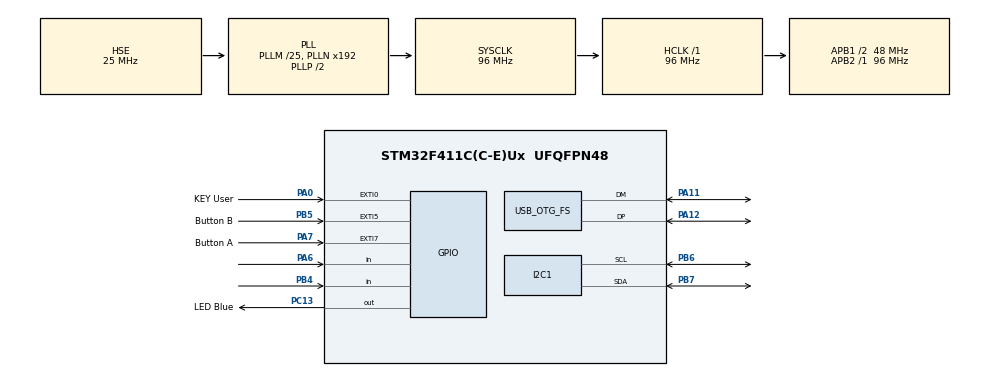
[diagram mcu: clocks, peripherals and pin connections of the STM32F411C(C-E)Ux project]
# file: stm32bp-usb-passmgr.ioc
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ADC1.Channel-6\#ChannelRegularConversion=ADC_CHANNEL_TEMPSENSOR
ADC1.NbrOfConversionFlag=1
ADC1.Rank-6\#ChannelRegularConversion=1
ADC1.SamplingTime-6\#ChannelRegularConversion=ADC_SAMPLETIME_3CYCLES
ADC1.master=1
Dma.I2C1_TX.0.Direction=DMA_MEMORY_TO_PERIPH
Dma.I2C1_TX.0.FIFOMode=DMA_FIFOMODE_DISABLE
Dma.I2C1_TX.0.Instance=DMA1_Stream6
Dma.I2C1_TX.0.MemDataAlignment=DMA_MDATAALIGN_BYTE
Dma.I2C1_TX.0.MemInc=DMA_MINC_ENABLE
Dma.I2C1_TX.0.Mode=DMA_NORMAL
Dma.I2C1_TX.0.PeriphDataAlignment=DMA_PDATAALIGN_BYTE
Dma.I2C1_TX.0.PeriphInc=DMA_PINC_DISABLE
Dma.I2C1_TX.0.Priority=DMA_PRIORITY_LOW
Dma.Request0=I2C1_TX
I2C1.I2C_Mode=I2C_Fast
Mcu.Family=STM32F4
Mcu.Name=STM32F411C(C-E)Ux
Mcu.Package=UFQFPN48
NVIC.DMA1_Stream6_IRQn=true\:0\:0\:false\:false\:true\:false\:true\:true
NVIC.EXTI0_IRQn=true\:0\:0\:false\:false\:true\:true\:true\:true
NVIC.EXTI9_5_IRQn=true\:0\:0\:false\:false\:true\:true\:true\:true
NVIC.I2C1_EV_IRQn=true\:0\:0\:false\:false\:true\:true\:true\:true
NVIC.OTG_FS_IRQn=true\:1\:0\:true\:false\:true\:false\:true\:true
NVIC.PriorityGroup=NVIC_PRIORITYGROUP_4
NVIC.TIM1_UP_TIM10_IRQn=true\:14\:0\:true\:false\:true\:true\:true\:true
PA0-WKUP.GPIO_Label=KEY User
PA0-WKUP.GPIO_ModeDefaultEXTI=GPIO_MODE_IT_RISING_FALLING
PA0-WKUP.GPIO_PuPd=GPIO_PULLUP
PA0-WKUP.Signal=GPXTI0
PA11.Mode=Device_Only
PA11.Signal=USB_OTG_FS_DM
PA12.Mode=Device_Only
PA12.Signal=USB_OTG_FS_DP
PA6.Signal=GPIO_Input
PA7.GPIO_Label=Button A
PA7.GPIO_ModeDefaultEXTI=GPIO_MODE_IT_RISING_FALLING
PA7.GPIO_PuPd=GPIO_PULLUP
PA7.Signal=GPXTI7
PB4.Signal=GPIO_Input
PB5.GPIO_Label=Button B
PB5.GPIO_ModeDefaultEXTI=GPIO_MODE_IT_RISING_FALLING
PB5.GPIO_PuPd=GPIO_PULLUP
PB5.Signal=GPXTI5
PB6.Mode=I2C
PB6.Signal=I2C1_SCL
PB7.Mode=I2C
PB7.Signal=I2C1_SDA
PC13-ANTI_TAMP.GPIO_Label=LED Blue
PC13-ANTI_TAMP.Signal=GPIO_Output
PC14-OSC32_IN.Mode=LSE-External-Oscillator
PC14-OSC32_IN.Signal=RCC_OSC32_IN
PC15-OSC32_OUT.Mode=LSE-External-Oscillator
PC15-OSC32_OUT.Signal=RCC_OSC32_OUT
PH0\ -\ OSC_IN.Mode=HSE-External-Oscillator
PH0\ -\ OSC_IN.Signal=RCC_OSC_IN
PH1\ -\ OSC_OUT.Mode=HSE-External-Oscillator
PH1\ -\ OSC_OUT.Signal=RCC_OSC_OUT
ProjectManager.HeapSize=0x200
ProjectManager.StackSize=0x400
ProjectManager.TargetToolchain=STM32CubeIDE
RCC.48MHZClocksFreq_Value=48000000
RCC.AHBFreq_Value=96000000
RCC.APB1CLKDivider=RCC_HCLK_DIV2
RCC.APB1Freq_Value=48000000
RCC.APB1TimFreq_Value=96000000
RCC.APB2Freq_Value=96000000
RCC.APB2TimFreq_Value=96000000
RCC.CortexFreq_Value=96000000
RCC.HCLKFreq_Value=96000000
RCC.HSE_VALUE=25000000
RCC.HSI_VALUE=16000000
RCC.PLLM=25
RCC.SYSCLKFreq_VALUE=96000000
RCC.SYSCLKSource=RCC_SYSCLKSOURCE_PLLCLK
RCC.VCOOutputFreq_Value=192000000
TIM10.Period=499
TIM10.Prescaler=1499
USB_DEVICE.CLASS_NAME_FS=CUSTOM_HID
USB_DEVICE.USBD_CUSTOM_HID_REPORT_DESC_SIZE=61
USB_DEVICE.VirtualMode=CustomHid
USB_DEVICE.VirtualModeFS=Custom_Hid_FS
USB_OTG_FS.VirtualMode=Device_Only
VP_ADC1_TempSens_Input.Mode=IN-TempSens
VP_CRC_VS_CRC.Mode=CRC_Activate
VP_TIM10_VS_ClockSourceINT.Mode=Enable_Timer
VP_USB_DEVICE_VS_USB_DEVICE_CUSTOM_HID_FS.Mode=CUSTOM_HID_FS
board=custom

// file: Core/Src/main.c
/* USER CODE BEGIN Header */
/**
  ******************************************************************************
  * @file           : main.c
  * @brief          : Main program body
  ******************************************************************************
  * @attention
  *
  * Copyright (c) 2023 STMicroelectronics.
  * All rights reserved.
  *
  * This software is licensed under terms that can be found in the LICENSE file
  * in the root directory of this software component.
  * If no LICENSE file comes with this software, it is provided AS-IS.
  *
  ******************************************************************************
  */
/* USER CODE END Header */
#include "main.h"
#include "adc.h"
#include "crc.h"
#include "dma.h"
#include "i2c.h"
#include "tim.h"
#include "usb_device.h"
#include "gpio.h"

/* USER CODE BEGIN Includes */

#include <stdbool.h>
#include "usbd_customhid.h"
#include "usb_hid_keys.h"
#include "OLED_SSD1306.h"
#include "GFX_BW.h"
#include "fonts/fonts.h"
#include "keystructures.h"
#include "database.h"

/* USER CODE END Includes */

/* USER CODE BEGIN PD */
#define VERSION_STRING "1.05"

#define BTN_PRESSED GPIO_PIN_RESET		// Buttons are active-low
#define BTN_RELEASED GPIO_PIN_SET

#define BTN0_GPIO GPIOA
#define BTN0_PIN GPIO_PIN_0

#define BTN1_GPIO GPIOB
#define BTN1_PIN GPIO_PIN_5

#define BTN2_GPIO GPIOA
#define BTN2_PIN GPIO_PIN_7

#define LED_ON GPIO_PIN_RESET			// LED is active-low
#define LED_OFF GPIO_PIN_SET

#define LED_GPIO GPIOC
#define LED_PIN GPIO_PIN_13

#define BUTTONS 3						// Number of onboard buttons

#define BUTTON_DEBOUNCE_COUNTER 3		// Debounce conter cycles
#define BUTTON_HOLD_COUNTER 50			// Hold detect conter cycles

#define KEYPRESS_EVERY_N_CYCLES 8		// Keypress every n cycles
#define KEYPRESS_RELEASE_AFTER_CYCLES 2	// Keypress every n cycles

#define NUMBER_OF_LCD_LINES 4

#define TYPE_SEQUENCE_OFF -1			// Disable typing sequence
#define TYPE_SEQUENCE_BEGIN 0			// Begin typing sequence

#define DISPLAY_CONTEXT_MAIN 0x00		// Display context password slots
#define DISPLAY_CONTEXT_SLOTEDIT 0x01	// Display context edit password slot
#define DISPLAY_CONTEXT_TEXTEDIT 0x02	// Display context edit text line
#define DISPLAY_CONTEXT_DELCONFIRM 0x03	// Display context confirm delete
#define DISPLAY_CONTEXT_MESSAGE 0x04	// Display context display message
#define DISPLAY_CONTEXT_PINSET 0x05		// Display context display message
#define DISPLAY_CONTEXT_PINENTER 0x06	// Display context display message
#define DISPLAY_CONTEXT_HLTMSG 0x07 	// Display content halt message

#define EDIT_LOT_ROLE_NAME 0x01
#define EDIT_LOT_ROLE_USERNAME 0x02
#define EDIT_LOT_ROLE_PASSWORD 0x03

#define EDIT_OPTION_NEWPASS 0x00		// Opcja edycji - Nowe hasło
#define EDIT_OPTION_SAVE 0x01			// Opcja edycji - Zapisz
#define EDIT_OPTION_DELETE 0x02			// Opcja edycji - Zapisz
#define EDIT_OPTION_NAME 0x03			// Opcja edycji - Nazwa
#define EDIT_OPTION_USERNAME 0x04		// Opcja edycji - Użytkownik
#define EDIT_OPTION_PASSWORD 0x05		// Opcja edycji - Hasło

#define MAX_LINE_OF_TEXT_CHARS 20

#define MSG_DISPLAY_CYCLES 150
#define VERSION_DISPLAY_CYCLES 70
#define DBMSG_DISPLAY_CYCLES 20
#define SAVE_ALL_SLOTS_ON_CYCLE 10

#define LCD_DIM_COUNTER_START 6000
#define DISPLAY_ENABLED_COUNTER_START 30000

#define LCD_DIM_BRIGHT_VALUE 0x50
#define LCD_DIM_DARK_VALUE 0x00

#define LCD_BRIGHTNESS_IS_DIM 0x01
#define LCD_BRIGHTNESS_GO_DIM 0x02
#define LCD_BRIGHTNESS_GO_BRIGHT 0x04

#define PIN_ENTER_CHAR_UNKNOWN '#'
#define PIN_ENTER_CHAR_UPARROW '^'
#define PIN_ENTER_CHAR_ONE '1'
#define PIN_ENTER_CHAR_ZERO '0'

#define MAX_FAILED_LOGIN 3

#define OPT_FAILED_LOGINS 0

#define DELAYED_LOGIN_COUNTER 10

void welcomeMsg(void);
void longPress(int);
void shortPress(int);
void loadAndDisplaySlots(void);
void loadSlotsFromFlash(void);
void displayLoadedSlots(void);
void cleanAndSaveDB(void);
bool saveAllSlots(void);
char alphabetGetNextChar(char);
char alphabetGetPreviousChar(char);
void sanitizeLineOfText(char*, int);
void randomizePassword(char*, int);
void loadEncryptedDatabase(void);
void scrambleEmptyData(char*, int);

/* USER CODE END PD */

/* USER CODE BEGIN PV */

extern USBD_HandleTypeDef hUsbDeviceFS;

struct ButtonState {
	bool isPressed;
	bool isHolded;
	bool awaitingPressAction;
	bool awaitingReleaseAction;
	bool awaitingLongAction;
	int stateCounter;
	int holdCounter;
	GPIO_TypeDef *GPIO;
	uint8_t PIN;
};

struct ButtonState buttonState[3] = {0};

char alphabet[] = {'a', 'b', 'c', 'd', 'e', 'f', 'g', 'h', 'i', 'j', 'k', 'l', 'm', 'n', 'o', 'p', 'q', 'r', 's', 't', 'u', 'v', 'w', 'x', 'y', 'z',
				   'A', 'B', 'C', 'D', 'E', 'F', 'G', 'H', 'I', 'J', 'K', 'L', 'M', 'N', 'O', 'P', 'Q', 'R', 'S', 'T', 'U', 'V', 'W', 'X', 'Y', 'Z',
				   '0', '1', '2', '3', '4', '5', '6', '7', '8', '9', '!', '@', '#', '$', '%', '^', '&', '*', '(', ')', '-', '=', '_', '+',
				   '.', 0x00};

int letterDisplay = sizeof(alphabet)-1;

const int releaseKey = 0;
const int userBegin = 1;
const int passwordBegin = 12;

int letterToType = 0;
int keyPressed = 0;

const int longPressCycles = 35;

uint8_t capslockState = 0;

uint8_t usbConnected = 0;

char slotDisplayLines[4][26] = {{0}, {0}, {0}, {0}};
char slotEditLines[4][26] = {{0}, {0}, {0}, {0}};
bool slotsWithLabel[4] = { false, false, false, false };
static char *slotEditNewPassBtn = "[Nowe]";
static char *slotEditSaveBtn = "[Zapisz]";
static char *slotEditDeleteBtn = "[Usun]";
static char *slotEditOKBtn = "[OK]";
static char *slotEditNameLabel = "N:";
static char *slotEditUsernameLabel = "U:";
static char *slotEditPasswordLabel = "H:";
int editOption = 0;

static char *slotEditLOTLabelName = "Nazwa:";
static char *slotEditLOTLabelUsername = "Uzytkownik:";
static char *slotEditLOTLabelPassword = "Haslo:";

static char *pinEditLabel = "Ustaw PIN:";
static char *pinEnterLabel = "Podaj PIN:";

char lcdMessage[16] = {0};

char str[20] = {0};

PasswordSlot passwordSlots[NUMBER_OF_SLOTS] = {0};
PasswordSlot currentEditPasswordSlot;
volatile bool editPasswordWasChanged = false;
bool slotValid[NUMBER_OF_SLOTS + 1] = { false };
char validSignature[4] = { 'E', 'O', 'D', 'B' };
uint8_t dbSignature[4] = {0};

static char *slotInvalidName = "[ DODAJ SLOT ]";
static char *slotSetPinName = "[ USTAW PIN ]";
static char *slotLabels[NUMBER_OF_SLOTS + 1] = {"1.", "2.", "3.", "4.", "5.", "6.", "7.", "8.", "9.",
											    "A.", "B.", "C.", "D.", "E.", "F.", "G.", "H.", "I.",
											    "J.", "K.", "L.", "M.", "N.", "O.", "P.", "Q.", "R.",
											    "S.", "T.", "U.", "W.", "X.", "Y.", "Z.", ".."};

static char *slotConfirmDeleteLabel = "[YARLY!]";

const char* lcdMessageTyping = "PISZE...";
const char* lcdMessageSaving = "Zapisuje...";
const char* lcdMessageDeleting = "Usuwam...";
const char* lcdMessageSaveError = "BLAD!";
const char* lcdMessageSaveOK = "OK!";

const char* lcdDelConfirmMessage = "ORLY???";

const char* lcdMessageLocked = "Blokada";
const char* lcdMessageFailedPin = "Zly PIN!";

const char* lcdMessageVersion = VERSION_STRING;

typedef struct EditedLineOfText {
	char line[25];
	char name[25];
	int lineRole;
	int editedChar;
} EditedLineOfText;

static char emptyChar = '~';
static char upArrowChar = '^';

int okButtonIdx = 0;

EditedLineOfText editedLineOfText = { {0}, {0}, 0, 0 };

volatile int selectedSlot = 0;

typedef struct TypeSequence {
	int lUsername;
	int lPassword;
	int lPreviousPassword;
	bool withTerminations;
} TypeSequence;

TypeSequence typeSequence = {-1, -1};

volatile uint8_t displayContext = DISPLAY_CONTEXT_MAIN;

volatile int messageDisplayCounter = 0;

uint8_t randomSeed[MAX_LINE_OF_TEXT_CHARS * 4] = {0};
volatile uint8_t currentSeedPart = 0;

volatile int lcdDimCounter = 0;

volatile uint8_t lcdBrightnessStatus = 0x00;

volatile int displayEnabledCounter = 0;

uint8_t displaySlotsFirst = {0};
uint8_t displaySlotsLast = {0};

uint8_t xorPinKey = 0x00;

volatile uint8_t pinEntered = 0x00;
volatile uint8_t pinEnterPos = 0;

uint8_t optBuffer[4];

volatile int delayedLogin = 0x00;

volatile bool btnCancelNextAction = false;

uint8_t databaseMode = PM_DATABASE_MODE_MAIN;
volatile uint8_t saveDatabasePending = false;

/* USER CODE END PV */

void SystemClock_Config(void);

/* USER CODE BEGIN 0 */

void welcomeMsg(void) {
	displayContext = DISPLAY_CONTEXT_MESSAGE;
	if (databaseMode == PM_DATABASE_MODE_BACKUP) {
		sprintf(lcdMessage, "baza zapas.");
	} else {
		sprintf(lcdMessage, "wersja %s", lcdMessageVersion);
	}
	messageDisplayCounter = VERSION_DISPLAY_CYCLES;
}

// Procedures executed on buttons long press
void longPress(int button) {

	if (btnCancelNextAction) {
		btnCancelNextAction = false;
		return;
	}

	switch (displayContext)
	{
		case DISPLAY_CONTEXT_MAIN:
			switch (button) {
				case 0:	// BUTTON 0 LONG PRESS
					if ((typeSequence.lUsername == TYPE_SEQUENCE_OFF) && (typeSequence.lPassword == TYPE_SEQUENCE_OFF) && (typeSequence.lPreviousPassword == TYPE_SEQUENCE_OFF) && slotValid[selectedSlot]) {
						typeSequence.lUsername = TYPE_SEQUENCE_OFF;
						typeSequence.lPassword = TYPE_SEQUENCE_BEGIN;
						typeSequence.lPreviousPassword = TYPE_SEQUENCE_OFF;
						typeSequence.withTerminations = false;
						keyPressed = 0;
						//Display typing message
						strcpy(lcdMessage, lcdMessageTyping);
						displayContext = DISPLAY_CONTEXT_MESSAGE;
					}
					break;
				case 1: // BUTTON 1 LONG PRESS
					if (selectedSlot > displaySlotsLast) {
						pinEntered = 0x00;
						pinEnterPos = 0x00;
						displayContext = DISPLAY_CONTEXT_PINSET;
					}
					else
					{
						if (slotValid[selectedSlot]) {
							strncpy(currentEditPasswordSlot.name, passwordSlots[selectedSlot].name, 25);
							strncpy(currentEditPasswordSlot.username, passwordSlots[selectedSlot].username, 25);
							strncpy(currentEditPasswordSlot.password, passwordSlots[selectedSlot].password, 25);
							strncpy(currentEditPasswordSlot.previouspassword, passwordSlots[selectedSlot].previouspassword, 25);
							sanitizeLineOfText(currentEditPasswordSlot.name, sizeof(currentEditPasswordSlot.name));
							sanitizeLineOfText(currentEditPasswordSlot.username, sizeof(currentEditPasswordSlot.username));
							sanitizeLineOfText(currentEditPasswordSlot.password, sizeof(currentEditPasswordSlot.password));
							sanitizeLineOfText(currentEditPasswordSlot.previouspassword, sizeof(currentEditPasswordSlot.previouspassword));
						} else {
							strcpy(currentEditPasswordSlot.name, "");
							strcpy(currentEditPasswordSlot.username, "");
							strcpy(currentEditPasswordSlot.password, "");
							strcpy(currentEditPasswordSlot.previouspassword, "");
						}
						displayContext = DISPLAY_CONTEXT_SLOTEDIT;
						editOption = EDIT_OPTION_NEWPASS;
						editPasswordWasChanged = false;
					}
					break;
				case 2: // BUTTON 2 LONG PRESS
					if ((typeSequence.lUsername == TYPE_SEQUENCE_OFF) && (typeSequence.lPassword == TYPE_SEQUENCE_OFF) && (typeSequence.lPreviousPassword == TYPE_SEQUENCE_OFF) && slotValid[selectedSlot]) {
						typeSequence.lUsername = TYPE_SEQUENCE_OFF;
						typeSequence.lPassword = TYPE_SEQUENCE_OFF;
						typeSequence.lPreviousPassword = TYPE_SEQUENCE_BEGIN;
						typeSequence.withTerminations = false;
						keyPressed = 0;
						//Display typing message
						strcpy(lcdMessage, lcdMessageTyping);
						displayContext = DISPLAY_CONTEXT_MESSAGE;
					}
					break;
			}
			break;

		case DISPLAY_CONTEXT_SLOTEDIT:
			switch (button) {
				case 0:	// BUTTON 0 LONG PRESS
					if ((editOption == EDIT_OPTION_SAVE) || (editOption == EDIT_OPTION_NEWPASS) || (editOption == EDIT_OPTION_DELETE)) {
						sanitizeLineOfText(currentEditPasswordSlot.name, sizeof(currentEditPasswordSlot.name));
						sanitizeLineOfText(currentEditPasswordSlot.username, sizeof(currentEditPasswordSlot.username));
						sanitizeLineOfText(currentEditPasswordSlot.password, sizeof(currentEditPasswordSlot.password));
						sanitizeLineOfText(currentEditPasswordSlot.previouspassword, sizeof(currentEditPasswordSlot.previouspassword));

						switch (editOption)
						{
							case EDIT_OPTION_SAVE:
								strncpy(passwordSlots[selectedSlot].name, currentEditPasswordSlot.name, sizeof(currentEditPasswordSlot.name));
								strncpy(passwordSlots[selectedSlot].username, currentEditPasswordSlot.username,  sizeof(currentEditPasswordSlot.username));
								if (editPasswordWasChanged)
								{
									strncpy(passwordSlots[selectedSlot].previouspassword, passwordSlots[selectedSlot].password,  sizeof(passwordSlots[selectedSlot].password));
									sanitizeLineOfText(passwordSlots[selectedSlot].previouspassword, sizeof(passwordSlots[selectedSlot].previouspassword));
								}
								strncpy(passwordSlots[selectedSlot].password, currentEditPasswordSlot.password,  sizeof(currentEditPasswordSlot.password));
								slotValid[selectedSlot] = true;
								saveDatabasePending = true;
								strcpy(lcdMessage, lcdMessageSaving);
								displayContext = DISPLAY_CONTEXT_MESSAGE;
								messageDisplayCounter = DBMSG_DISPLAY_CYCLES;
								editPasswordWasChanged = false;
								break;

							case EDIT_OPTION_NEWPASS:
								randomizePassword(currentEditPasswordSlot.password, MAX_LINE_OF_TEXT_CHARS);
								sanitizeLineOfText(currentEditPasswordSlot.password, sizeof(currentEditPasswordSlot.password));
								editPasswordWasChanged = true;
								break;

							case EDIT_OPTION_DELETE:
								if (slotValid[selectedSlot]) {
									strcpy(lcdMessage, lcdDelConfirmMessage);
									displayContext = DISPLAY_CONTEXT_DELCONFIRM;
								}
								break;
						}
					}
					break;
				case 1: // BUTTON 1 LONG PRESS
					if (editOption == EDIT_OPTION_NAME || editOption == EDIT_OPTION_USERNAME || editOption == EDIT_OPTION_PASSWORD) {
						switch (editOption)
						{
							case EDIT_OPTION_NAME:
								strcpy(editedLineOfText.name, slotEditLOTLabelName);
								editedLineOfText.lineRole = EDIT_LOT_ROLE_NAME;
								strcpy(editedLineOfText.line, currentEditPasswordSlot.name);
								break;
							case EDIT_OPTION_USERNAME:
								strcpy(editedLineOfText.name, slotEditLOTLabelUsername);
								editedLineOfText.lineRole = EDIT_LOT_ROLE_USERNAME;
								strcpy(editedLineOfText.line, currentEditPasswordSlot.username);
								break;
							case EDIT_OPTION_PASSWORD:
								strcpy(editedLineOfText.name, slotEditLOTLabelPassword);
								editedLineOfText.lineRole = EDIT_LOT_ROLE_PASSWORD;
								strcpy(editedLineOfText.line, currentEditPasswordSlot.password);
								break;

						}
						sanitizeLineOfText(editedLineOfText.line, sizeof(editedLineOfText.line));
						editedLineOfText.editedChar = 0;
						displayContext = DISPLAY_CONTEXT_TEXTEDIT;

					}
					break;
				case 2: // BUTTON 2 LONG PRESS
					displayContext = DISPLAY_CONTEXT_MAIN;
					editPasswordWasChanged = false;
					break;
			}
			break;

		case DISPLAY_CONTEXT_TEXTEDIT:
			switch (button) {
				case 0:	// BUTTON 0 LONG PRESS
					okButtonIdx = (strlen(editedLineOfText.line)+1 < MAX_LINE_OF_TEXT_CHARS)?strlen(editedLineOfText.line)+1:MAX_LINE_OF_TEXT_CHARS;

					if (editedLineOfText.editedChar < okButtonIdx)
					{
						if (--editedLineOfText.editedChar < 0) editedLineOfText.editedChar = okButtonIdx;
					} else {
						sanitizeLineOfText(editedLineOfText.line, sizeof(editedLineOfText.line));
						switch (editedLineOfText.lineRole)
						{
							case EDIT_LOT_ROLE_NAME:
								strcpy(currentEditPasswordSlot.name, editedLineOfText.line);
								break;
							case EDIT_LOT_ROLE_USERNAME:
								strcpy(currentEditPasswordSlot.username, editedLineOfText.line);
								break;
							case EDIT_LOT_ROLE_PASSWORD:
								strcpy(currentEditPasswordSlot.password, editedLineOfText.line);
								editPasswordWasChanged = true;
								break;
						}
						displayContext = DISPLAY_CONTEXT_SLOTEDIT;
						//editOption = EDIT_OPTION_SAVE;
					}
					break;
				case 1:	// BUTTON 1 LONG PRESS
					okButtonIdx = (strlen(editedLineOfText.line)+1 < MAX_LINE_OF_TEXT_CHARS)?strlen(editedLineOfText.line)+1:MAX_LINE_OF_TEXT_CHARS;

					editedLineOfText.editedChar = okButtonIdx;
					break;
				case 2:	// BUTTON 2 LONG PRESS
					displayContext = DISPLAY_CONTEXT_SLOTEDIT;
					break;
			}
			break;

		case DISPLAY_CONTEXT_DELCONFIRM:
			switch (button) {

				case 0:	// BUTTON 0 LONG PRESS
					memset(&(currentEditPasswordSlot.name), 0x00, sizeof(currentEditPasswordSlot.name));
					memset(&(currentEditPasswordSlot.username), 0x00, sizeof(currentEditPasswordSlot.username));
					memset(&(currentEditPasswordSlot.password), 0x00, sizeof(currentEditPasswordSlot.password));
					memset(&(currentEditPasswordSlot.previouspassword), 0x00, sizeof(currentEditPasswordSlot.previouspassword));
					memset(&(currentEditPasswordSlot.checksum), 0x00, sizeof(currentEditPasswordSlot.checksum));
					slotValid[selectedSlot] = false;
					selectedSlot = 0;
					displaySlotsFirst = 0;
					saveDatabasePending = true;
					strcpy(lcdMessage, lcdMessageDeleting);
					displayContext = DISPLAY_CONTEXT_MESSAGE;
					messageDisplayCounter = DBMSG_DISPLAY_CYCLES;
					editPasswordWasChanged = false;
					break;

				case 1:
				case 2:
					displayContext = DISPLAY_CONTEXT_SLOTEDIT;
					break;

			}
			break;

		case DISPLAY_CONTEXT_PINSET:

			switch (button) {
				case 0:
					if (pinEnterPos > 7) {
						xorPinKey = pinEntered;
						pinEntered = 0x00;
						pinEnterPos = 0x00;
						saveDatabasePending = true;
						strcpy(lcdMessage, lcdMessageSaving);
						displayContext = DISPLAY_CONTEXT_MESSAGE;
						messageDisplayCounter = DBMSG_DISPLAY_CYCLES;
					}
					break;
				case 2:
					pinEntered = 0x00;
					pinEnterPos = 0x00;
					displayContext = DISPLAY_CONTEXT_MAIN;
					break;

			}
		break;

		case DISPLAY_CONTEXT_PINENTER:

			switch (button) {

				case 0:
					if (delayedLogin == 0) {
						if (pinEnterPos > 0) pinEnterPos--;
					}
				break;

				case 1:
					if (delayedLogin == 0) {
						pinEntered |= (0x01 << (7 - pinEnterPos));
						if ((++pinEnterPos) > 7)
						{
							xorPinKey = pinEntered;
							delayedLogin = DELAYED_LOGIN_COUNTER;
						}
					}
				break;

				case 2:
					if (delayedLogin == 0) {
						pinEntered &= ~(0x01 << (7 - pinEnterPos));
						if ((++pinEnterPos) > 7)
						{
							xorPinKey = pinEntered;
							delayedLogin = DELAYED_LOGIN_COUNTER;
						}
					}
				break;

			}
		break;

	}
}

// Procedures executed on buttons short press
void shortPress(int button) {

	if (btnCancelNextAction) {
		btnCancelNextAction = false;
		return;
	}

	switch (displayContext)
	{
		case DISPLAY_CONTEXT_MAIN:
			switch (button) {
				case 0: // BUTTON 0 SHORT PRESS
					if ((typeSequence.lUsername == TYPE_SEQUENCE_OFF) && (typeSequence.lPassword == TYPE_SEQUENCE_OFF) && (typeSequence.lPreviousPassword == TYPE_SEQUENCE_OFF) && slotValid[selectedSlot]) {
						typeSequence.lUsername = TYPE_SEQUENCE_BEGIN;
						typeSequence.lPassword = TYPE_SEQUENCE_BEGIN;
						typeSequence.lPreviousPassword = TYPE_SEQUENCE_OFF;
						typeSequence.withTerminations = true;
						keyPressed = 0;
						//Display typing message
						strcpy(lcdMessage, lcdMessageTyping);
						displayContext = DISPLAY_CONTEXT_MESSAGE;
					}
					break;
				case 1: // BUTTON 1 SHORT PRESS
					selectedSlot++;
					if (selectedSlot > displaySlotsLast + 1) selectedSlot = 0;
					if (selectedSlot > displaySlotsFirst + NUMBER_OF_LCD_LINES - 1)
					{
						displaySlotsFirst = selectedSlot - NUMBER_OF_LCD_LINES + 1;
						displayLoadedSlots();
					}
					else if (selectedSlot < displaySlotsFirst)
					{
						displaySlotsFirst = selectedSlot;
						displayLoadedSlots();
					}
					break;
				case 2: // BUTTON 2 SHORT PRESS
					selectedSlot--;
					if (selectedSlot < 0) selectedSlot = displaySlotsLast + 1;
					if (selectedSlot > displaySlotsFirst + NUMBER_OF_LCD_LINES - 1)
					{
						displaySlotsFirst = selectedSlot - NUMBER_OF_LCD_LINES + 1;
						displayLoadedSlots();
					}
					else if (selectedSlot < displaySlotsFirst)
					{
						displaySlotsFirst = selectedSlot;
						displayLoadedSlots();
					}
					break;
			}
			break;

		case DISPLAY_CONTEXT_SLOTEDIT:
			switch (button) {
				case 0:	// BUTTON 0 SHORT PRESS
					break;
				case 1: // BUTTON 1 SHORT PRESS
					editOption++;
					if (editOption > 5) editOption = 0;
					break;
				case 2: // BUTTON 2 SHORT PRESS
					editOption--;
					if (editOption < 0) editOption = 5;
					break;
				}
				break;
			break;

		case DISPLAY_CONTEXT_TEXTEDIT:
			switch (button) {
				case 0:	// BUTTON 0 SHORT PRESS
					okButtonIdx = (strlen(editedLineOfText.line) + 1 < MAX_LINE_OF_TEXT_CHARS)?strlen(editedLineOfText.line) + 1:MAX_LINE_OF_TEXT_CHARS;
					if (++editedLineOfText.editedChar > okButtonIdx) editedLineOfText.editedChar = 0;
					break;
				case 1:	// BUTTON 0 SHORT PRESS
					if (editedLineOfText.editedChar < MAX_LINE_OF_TEXT_CHARS)
					{
						editedLineOfText.line[editedLineOfText.editedChar] = alphabetGetNextChar(editedLineOfText.line[editedLineOfText.editedChar]);
						sanitizeLineOfText(editedLineOfText.line, sizeof(editedLineOfText.line));
					}
					break;
				case 2:	// BUTTON 0 SHORT PRESS
					if (editedLineOfText.editedChar < MAX_LINE_OF_TEXT_CHARS)
					{
						editedLineOfText.line[editedLineOfText.editedChar] = alphabetGetPreviousChar(editedLineOfText.line[editedLineOfText.editedChar]);
						sanitizeLineOfText(editedLineOfText.line, sizeof(editedLineOfText.line));
					}
					break;
			}
		break;

		case DISPLAY_CONTEXT_DELCONFIRM:

			displayContext = DISPLAY_CONTEXT_SLOTEDIT;

			break;

		case DISPLAY_CONTEXT_PINSET:

			switch (button) {

				case 0:
					if (pinEnterPos > 0) pinEnterPos--;
					break;

				case 1:
					if (pinEnterPos < 8)
					{
						pinEntered |= (0x01 << (7 - pinEnterPos));
						pinEnterPos++;
					}
					break;

				case 2:
					if (pinEnterPos < 8)
					{
						pinEntered &= ~(0x01 << (7 - pinEnterPos));
						pinEnterPos++;
					}
					break;

				}
			break;

		case DISPLAY_CONTEXT_PINENTER:

			switch (button) {

				case 0:
					if (delayedLogin == 0) {
						if (pinEnterPos > 0) pinEnterPos--;
					}
					break;

				case 1:
					if (delayedLogin == 0) {
						pinEntered |= (0x01 << (7 - pinEnterPos));
						if ((++pinEnterPos) > 7)
						{
							xorPinKey = pinEntered;
							delayedLogin = DELAYED_LOGIN_COUNTER;
						}
					}
					break;

				case 2:
					if (delayedLogin == 0) {
						pinEntered &= ~(0x01 << (7 - pinEnterPos));
						if ((++pinEnterPos) > 7)
						{
							xorPinKey = pinEntered;
							delayedLogin = DELAYED_LOGIN_COUNTER;
						}
					}
					break;

				}
			break;

	}
}

void loadEncryptedDatabase(void) {
	GetDBSignature(dbSignature, NUMBER_OF_SLOTS, xorPinKey, databaseMode);

	uint32_t *tmpSignature = (uint32_t*)dbSignature;
	if (*tmpSignature == *((uint32_t*)validSignature))
	{
		loadAndDisplaySlots();
		if (optBuffer[OPT_FAILED_LOGINS] > 0)
		{
			optBuffer[OPT_FAILED_LOGINS] = 0;
			SaveOptions(optBuffer);
		}
		//displayContext = DISPLAY_CONTEXT_MAIN;
		welcomeMsg();
		selectedSlot = 0;
	}
	else
    {
		optBuffer[OPT_FAILED_LOGINS]++;
		SaveOptions(optBuffer);
		strcpy(lcdMessage, lcdMessageFailedPin);
		displayContext = DISPLAY_CONTEXT_HLTMSG;
	}
}

void loadSlotsFromFlash(void) {
	displaySlotsLast = 0;
	for (int i = 0; i < NUMBER_OF_SLOTS; i++) {
		slotValid[i] = GetPasswordSlot(&passwordSlots[i], i, xorPinKey, databaseMode);
		if ((slotValid[i]) && (i < NUMBER_OF_SLOTS - 1)) {
			displaySlotsLast = i + 1;
		}
		if (!slotValid[i])
		{
			memset(passwordSlots[i].name, 0x00, sizeof(passwordSlots[i].name));
			memset(passwordSlots[i].username, 0x00, sizeof(passwordSlots[i].username));
			memset(passwordSlots[i].password, 0x00, sizeof(passwordSlots[i].password));
			memset(passwordSlots[i].previouspassword, 0x00, sizeof(passwordSlots[i].previouspassword));
		}
		sanitizeLineOfText(passwordSlots[i].name, sizeof(passwordSlots[i].name));
		sanitizeLineOfText(passwordSlots[i].username, sizeof(passwordSlots[i].username));
		sanitizeLineOfText(passwordSlots[i].password, sizeof(passwordSlots[i].password));
		sanitizeLineOfText(passwordSlots[i].previouspassword, sizeof(passwordSlots[i].previouspassword));
	}
}

void displayLoadedSlots(void) {
	for (int i = 0; i < NUMBER_OF_LCD_LINES; i++) {
		memset(slotDisplayLines[i], 0x00, sizeof(slotDisplayLines[i]));
		slotsWithLabel[i] = false;
	}
	for (int i = 0; i < NUMBER_OF_LCD_LINES; i++) {
		if ((i+displaySlotsFirst) > displaySlotsLast)
		{
			slotsWithLabel[i] = false;
			strcpy(slotDisplayLines[i], slotSetPinName);
			break;
		}
		else
		{
			if (slotValid[i+displaySlotsFirst]) {
				strncpy(slotDisplayLines[i], passwordSlots[i+displaySlotsFirst].name, 23);	// IF checksum valid display name
				slotsWithLabel[i] = true;
			}
			else {
				strcpy(slotDisplayLines[i], slotInvalidName);
				slotsWithLabel[i] = false;
			}
		}
	}
}

void loadAndDisplaySlots(void) {
	loadSlotsFromFlash();
	displayLoadedSlots();
}

void scrambleEmptyData(char *dataBuffer, int length) {

	bool validData = true;

	for (int i = 0; i < length; i++) {
		uint32_t *currentSeed = (uint32_t*)&randomSeed[(i % sizeof(randomSeed))];
		srand(*currentSeed);
		if (!validData) {
			dataBuffer[i] = rand() % 0xFF;
		} else if (dataBuffer[i] == 0x00) validData = false;
	}

}

bool saveAllSlots(void) {
	uint8_t passwordSlotsToWrite[sizeof(PasswordSlot) * NUMBER_OF_SLOTS + 4];

	int validSlots = 0;
	for (int i = 0; i < NUMBER_OF_SLOTS; i++) {
		if (slotValid[i])
		{
			sanitizeLineOfText(passwordSlots[i].name, sizeof(passwordSlots[i].name));
			sanitizeLineOfText(passwordSlots[i].username, sizeof(passwordSlots[i].username));
			sanitizeLineOfText(passwordSlots[i].password, sizeof(passwordSlots[i].password));
			sanitizeLineOfText(passwordSlots[i].previouspassword, sizeof(passwordSlots[i].previouspassword));
			PasswordSlot *tmpSlot = (PasswordSlot*)&passwordSlotsToWrite[sizeof(PasswordSlot) * validSlots];

			strncpy(tmpSlot->name, passwordSlots[i].name, sizeof(tmpSlot->name));
			strncpy(tmpSlot->username, passwordSlots[i].username, sizeof(tmpSlot->username));
			strncpy(tmpSlot->password, passwordSlots[i].password, sizeof(tmpSlot->password));
			strncpy(tmpSlot->previouspassword, passwordSlots[i].previouspassword, sizeof(tmpSlot->previouspassword));

			scrambleEmptyData(tmpSlot->name, sizeof(tmpSlot->name));
			scrambleEmptyData(tmpSlot->username, sizeof(tmpSlot->username));
			scrambleEmptyData(tmpSlot->password, sizeof(tmpSlot->password));
			scrambleEmptyData(tmpSlot->previouspassword, sizeof(tmpSlot->previouspassword));

			SlotAddChecksum(tmpSlot);
			validSlots++;
		}
	}
	for (int i = validSlots; i < NUMBER_OF_SLOTS; i++) {
		PasswordSlot *tmpSlot = (PasswordSlot*)&passwordSlotsToWrite[sizeof(PasswordSlot) * i];

		memset(tmpSlot->name, 0x00, sizeof(tmpSlot->name));
		memset(tmpSlot->username, 0x00, sizeof(tmpSlot->username));
		memset(tmpSlot->password, 0x00, sizeof(tmpSlot->password));
		memset(tmpSlot->previouspassword, 0x00, sizeof(tmpSlot->previouspassword));
		memset(&(tmpSlot->checksum), 0x00, sizeof(tmpSlot->checksum));

		scrambleEmptyData(tmpSlot->name, sizeof(tmpSlot->name));
		scrambleEmptyData(tmpSlot->username, sizeof(tmpSlot->username));
		scrambleEmptyData(tmpSlot->password, sizeof(tmpSlot->password));
		scrambleEmptyData(tmpSlot->previouspassword, sizeof(tmpSlot->previouspassword));
	}

	for (int i = 0; i < 4; i++)
	{
		passwordSlotsToWrite[sizeof(PasswordSlot) * NUMBER_OF_SLOTS + i] = validSignature[i];
	}

	// ENCRYPTION
	for (int i = 0; i < sizeof(passwordSlotsToWrite); i++) passwordSlotsToWrite[i] ^= xorPinKey;

	return WritePasswordSlots((uint8_t*)&passwordSlotsToWrite, NUMBER_OF_SLOTS);
}

void cleanAndSaveDB(void) {
	xorPinKey = 0x00;

	uint8_t passwordSlotsToWrite[sizeof(PasswordSlot) * NUMBER_OF_SLOTS + 4];

	for (int i = 0; i < NUMBER_OF_SLOTS; i++) {
		PasswordSlot *tmpSlot = (PasswordSlot*)&passwordSlotsToWrite[sizeof(PasswordSlot) * i];

		memset(tmpSlot->name, 0x00, sizeof(tmpSlot->name));
		memset(tmpSlot->username, 0x00, sizeof(tmpSlot->username));
		memset(tmpSlot->password, 0x00, sizeof(tmpSlot->password));
		memset(tmpSlot->previouspassword, 0x00, sizeof(tmpSlot->previouspassword));

		memset(&(tmpSlot->checksum), 0x00, sizeof(tmpSlot->checksum));
	}

	for (int i = 0; i < 4; i++)
	{
		passwordSlotsToWrite[sizeof(PasswordSlot) * NUMBER_OF_SLOTS + i] = validSignature[i];
	}

	for (int i = 0; i < sizeof(passwordSlotsToWrite); i++) passwordSlotsToWrite[i] ^= xorPinKey;

	WritePasswordSlots((uint8_t*)&passwordSlotsToWrite, NUMBER_OF_SLOTS);
}

char alphabetGetNextChar(char currentChar) {
	int nextCharIdx;
	for (int i = 0; i < sizeof(alphabet); i++)
	{
		if (currentChar == alphabet[i]) {
			nextCharIdx = ((i+1)>=sizeof(alphabet))?0:(i+1);
			return alphabet[nextCharIdx];
		}
	}
	return alphabet[0];
}

char alphabetGetPreviousChar(char currentChar) {
	int prevCharIdx;
	for (int i = 0; i < sizeof(alphabet); i++)
	{
		if (currentChar == alphabet[i]) {
			prevCharIdx = ((i-1)<0)?(sizeof(alphabet)-1):(i-1);
			return alphabet[prevCharIdx];
		}
	}
	return alphabet[0];
}

void sanitizeLineOfText(char *textToSanitize, int length) {
	bool validChars = true;
	for (int i = 0; i < length; i++) {
		if ((textToSanitize[i] < 0x20) || (textToSanitize[i] > 0x7E)) validChars = false;
		if (!validChars) textToSanitize[i] = 0x00;
	}
}

static inline uint32_t mix32(uint32_t x) {
    // tani mixer (wariant splitmix / avalanching)
    x ^= x >> 16;
    x *= 0x7feb352dU;
    x ^= x >> 15;
    x *= 0x846ca68bU;
    x ^= x >> 16;
    return x;
}

static inline uint8_t rand_unbiased(uint8_t n) {
    // zwraca równomiernie 0..n-1
    // RAND_MAX zwykle 32767, ale nie zakładamy nic poza >= 255
    uint32_t r;
    uint32_t limit = (RAND_MAX / n) * n;
    do { r = (uint32_t)rand(); } while (r >= limit);
    return (uint8_t)(r % n);
}

void randomizePassword(char *passwordBuffer, int length) {

    // Zbierz trochę entropii: tick + kilka odczytów ADC + Twoje randomSeed
    uint32_t seed = HAL_GetTick();

    for (int k = 0; k < 8; k++) {
        HAL_ADC_Start(&hadc1);
        HAL_ADC_PollForConversion(&hadc1, HAL_MAX_DELAY);
        uint16_t rawADC = HAL_ADC_GetValue(&hadc1);
        seed ^= ((uint32_t)rawADC << ((k & 3) * 8));
        seed = mix32(seed);
    }

    // wmieszaj fragment Twojego randomSeed (który już mieszasz tickiem i przyciskami)
    for (int i = 0; i < 16; i++) {
        seed ^= ((uint32_t)randomSeed[(currentSeedPart + i) % (MAX_LINE_OF_TEXT_CHARS * 4)] << ((i & 3) * 8));
        seed = mix32(seed);
    }

    srand(seed);

    uint8_t alpha_len = (uint8_t)(sizeof(alphabet) - 1); // bez 0x00
    for (int i = 0; i < length; i++) {
        passwordBuffer[i] = alphabet[rand_unbiased(alpha_len)];
    }

    if (length < 25) passwordBuffer[length] = 0x00;
}

/* USER CODE END 0 */

int main(void)
{

  /* MCU Configuration--------------------------------------------------------*/

  /* Reset of all peripherals, Initializes the Flash interface and the Systick. */
  HAL_Init();

  /* USER CODE BEGIN Init */
  //__HAL_TIM_ENABLE_IT(htim, TIM_IT_UPDATE);

  /* USER CODE END Init */

  /* Configure the system clock */
  SystemClock_Config();

  /* Initialize all configured peripherals */
  MX_GPIO_Init();
  MX_DMA_Init();
  MX_TIM10_Init();
  MX_USB_DEVICE_Init();
  MX_I2C1_Init();
  MX_CRC_Init();
  MX_ADC1_Init();
  /* USER CODE BEGIN 2 */

  // Initialize main timer - tim10
  HAL_TIM_Base_Start_IT(&htim10);

  // Disable onboard LED
  HAL_GPIO_WritePin(LED_GPIO, LED_PIN, LED_OFF);

  // Btn GND to LOW
  //HAL_GPIO_WritePin(GPIOA, GPIO_PIN_6, GPIO_PIN_RESET);
  //HAL_GPIO_WritePin(GPIOB, GPIO_PIN_4, GPIO_PIN_RESET);

  // OLED display INIT

  SSD1306_I2cInit(&hi2c1);
  SSD1306_SetContrast(LCD_DIM_BRIGHT_VALUE);
  lcdDimCounter = LCD_DIM_COUNTER_START;
  displayEnabledCounter = DISPLAY_ENABLED_COUNTER_START;
  btnCancelNextAction = false;

  SSD1306_RotateDisplay(0);
  //SSD1306_RotateDisplay(1);
  SSD1306_ZoomIn(1);
  GFX_SetFont(font_8x5);

  // Configure buttons structures
  buttonState[0].GPIO = BTN0_GPIO;
  buttonState[0].PIN = BTN0_PIN;
  buttonState[1].GPIO = BTN1_GPIO;
  buttonState[1].PIN = BTN1_PIN;
  buttonState[2].GPIO = BTN2_GPIO;
  buttonState[2].PIN = BTN2_PIN;

  HAL_Delay(50);

  GPIO_PinState initbtnstate1 = HAL_GPIO_ReadPin(buttonState[1].GPIO, buttonState[1].PIN);
  GPIO_PinState initbtnstate2 = HAL_GPIO_ReadPin(buttonState[2].GPIO, buttonState[2].PIN);

  if ((initbtnstate1 == BTN_PRESSED) && (initbtnstate2 == BTN_PRESSED)) {
	  databaseMode = PM_DATABASE_MODE_BACKUP;
  }

  selectedSlot = 0;

  GetOptions(optBuffer);

  if (*((uint32_t*)optBuffer) == 0xFFFFFFFF)
  {
	  for (int i = 0; i < sizeof(optBuffer); i++) optBuffer[i] = 0x00;
	  SaveOptions(optBuffer);
  }

  if (optBuffer[OPT_FAILED_LOGINS] < MAX_FAILED_LOGIN) {

	  // Load DB signature
	  GetDBSignature(dbSignature, NUMBER_OF_SLOTS, xorPinKey, databaseMode);

	  uint32_t *tmpSignature = (uint32_t*)dbSignature;
	  if (*tmpSignature == 0xFFFFFFFF )
	  {
		  // DATABSE UNINTIALIZED
		  cleanAndSaveDB();
		  loadAndDisplaySlots();
		  welcomeMsg();
	  }
	  else if (*tmpSignature == *((uint32_t*)validSignature))
	  {
		  // DATABSE OK NO PASSWORD
		  loadAndDisplaySlots();
		  welcomeMsg();
	  }
	  else
	  {
		  displayContext = DISPLAY_CONTEXT_PINENTER;
		  pinEntered = 0x00;
		  pinEnterPos = 0x00;
	  }
  }
  else
  {
	  strcpy(lcdMessage, lcdMessageLocked);
	  displayContext = DISPLAY_CONTEXT_HLTMSG;
  }

  saveDatabasePending = false;

  /* USER CODE END 2 */

  /* Infinite loop */
  /* USER CODE BEGIN WHILE */
  while (1)
  {

		#ifdef SSD1306_I2C_DMA_ENABLE
		if(hi2c1.hdmatx->State == HAL_DMA_STATE_READY) {
		#endif

			if (lcdBrightnessStatus & LCD_BRIGHTNESS_GO_DIM) {
				SSD1306_SetContrast(LCD_DIM_DARK_VALUE);
				lcdBrightnessStatus &= ~LCD_BRIGHTNESS_GO_DIM;
				lcdBrightnessStatus |= LCD_BRIGHTNESS_IS_DIM;
			}

			if (lcdBrightnessStatus & LCD_BRIGHTNESS_GO_BRIGHT) {
				SSD1306_SetContrast(LCD_DIM_BRIGHT_VALUE);
				lcdBrightnessStatus &= ~LCD_BRIGHTNESS_GO_BRIGHT;
				lcdBrightnessStatus &= ~LCD_BRIGHTNESS_IS_DIM;
			}

			SSD1306_Clear(BLACK);

		if (displayEnabledCounter > 0) {

			switch (displayContext)
			{

				case DISPLAY_CONTEXT_MAIN:
					GFX_SetFontSize(1);

					for (int i = 0; i < NUMBER_OF_LCD_LINES; i++) {
						if (strlen(slotDisplayLines[i]) > 0) {
							if (slotsWithLabel[i]) GFX_DrawString(0, 8 * i, slotLabels[i+displaySlotsFirst], (selectedSlot == i+displaySlotsFirst)?BLACK:WHITE, (selectedSlot == i+displaySlotsFirst)?WHITE:BLACK);
							else GFX_DrawString(0, 8 * i, slotLabels[NUMBER_OF_SLOTS], (selectedSlot == i+displaySlotsFirst)?BLACK:WHITE, (selectedSlot == i+displaySlotsFirst)?WHITE:BLACK);
							GFX_DrawString(16, 8 * i, slotDisplayLines[i], WHITE, BLACK);
						}
					}

					break;

				case DISPLAY_CONTEXT_SLOTEDIT:
					GFX_SetFontSize(1);

					GFX_DrawString(0, 0, slotEditNameLabel, (editOption == EDIT_OPTION_NAME)?BLACK:WHITE, (editOption == EDIT_OPTION_NAME)?WHITE:BLACK);
					GFX_DrawString(0, 8, slotEditUsernameLabel, (editOption == EDIT_OPTION_USERNAME)?BLACK:WHITE, (editOption == EDIT_OPTION_USERNAME)?WHITE:BLACK);
					GFX_DrawString(0, 16, slotEditPasswordLabel, (editOption == EDIT_OPTION_PASSWORD)?BLACK:WHITE, (editOption == EDIT_OPTION_PASSWORD)?WHITE:BLACK);

					GFX_DrawString(0, 24, slotEditNewPassBtn, (editOption == EDIT_OPTION_NEWPASS)?BLACK:WHITE, (editOption == EDIT_OPTION_NEWPASS)?WHITE:BLACK);
					GFX_DrawString(39, 24, slotEditSaveBtn, (editOption == EDIT_OPTION_SAVE)?BLACK:WHITE, (editOption == EDIT_OPTION_SAVE)?WHITE:BLACK);
					GFX_DrawString(90, 24, slotEditDeleteBtn, (editOption == EDIT_OPTION_DELETE)?BLACK:WHITE, (editOption == EDIT_OPTION_DELETE)?WHITE:BLACK);

					GFX_DrawString(12, 0, currentEditPasswordSlot.name, WHITE, BLACK);
					GFX_DrawString(12, 8, currentEditPasswordSlot.username, WHITE, BLACK);
					GFX_DrawString(12, 16, currentEditPasswordSlot.password, WHITE, BLACK);

					break;

				case DISPLAY_CONTEXT_TEXTEDIT:
					GFX_SetFontSize(1);

					okButtonIdx = (strlen(editedLineOfText.line) + 1 < MAX_LINE_OF_TEXT_CHARS)?strlen(editedLineOfText.line) + 1:MAX_LINE_OF_TEXT_CHARS;

					GFX_DrawString(0, 0, editedLineOfText.name, WHITE, BLACK);
					GFX_DrawString(100, 0, slotEditOKBtn, (editedLineOfText.editedChar == okButtonIdx)?BLACK:WHITE, (editedLineOfText.editedChar == okButtonIdx)?WHITE:BLACK);

					bool charsValid = true;

					for (int i = 0; i< okButtonIdx; i++) {
						if (editedLineOfText.line[i] == 0x00) charsValid = false;
						if (charsValid) GFX_DrawChar(i * 6, 16, editedLineOfText.line[i], WHITE, BLACK);
						else GFX_DrawChar(i * 6, 16, emptyChar, WHITE, BLACK);
						if (editedLineOfText.editedChar == i) GFX_DrawChar(i * 6, 26, upArrowChar, WHITE, BLACK);
					}

					break;

				case DISPLAY_CONTEXT_DELCONFIRM:

					GFX_SetFontSize(2);
					GFX_DrawString(0,8, lcdMessage, WHITE, BLACK);

					GFX_SetFontSize(1);
					GFX_DrawString(80,24, slotConfirmDeleteLabel, BLACK, WHITE);

					break;

				case DISPLAY_CONTEXT_MESSAGE:

					GFX_SetFontSize(2);
					GFX_DrawString(0,8, lcdMessage, WHITE, BLACK);

					break;

				case DISPLAY_CONTEXT_PINSET:

					GFX_SetFontSize(1);
					GFX_DrawString(0, 0, pinEditLabel, WHITE, BLACK);

					GFX_DrawString(100, 0, slotEditOKBtn, (pinEnterPos > 7)?BLACK:WHITE, (pinEnterPos > 7)?WHITE:BLACK);

					for (int i = 0; i < 8; i++)
					{
						GFX_SetFontSize(2);
						if (i<pinEnterPos)
						{
							GFX_DrawChar(17 + i * 11, 12, (pinEntered >> (7 - i) & 0x01)?PIN_ENTER_CHAR_ONE:PIN_ENTER_CHAR_ZERO , WHITE, BLACK);
						}
						else
						{
							GFX_DrawChar(17 + i * 11, 12, PIN_ENTER_CHAR_UNKNOWN, WHITE, BLACK);
						}
						if (pinEnterPos == i)
						{
							GFX_SetFontSize(1);
							GFX_DrawChar(19 + i * 11, 28, PIN_ENTER_CHAR_UPARROW, WHITE, BLACK);
						}
					}
					break;

				case DISPLAY_CONTEXT_PINENTER:

					GFX_SetFontSize(1);
					GFX_DrawString(0, 0, pinEnterLabel, WHITE, BLACK);
					sprintf(str, "(%d/%d)", optBuffer[0]+1, MAX_FAILED_LOGIN);
					GFX_DrawString(90, 0, str, WHITE, BLACK);

					for (int i = 0; i < 8; i++)
					{
						GFX_SetFontSize(2);
						if (i<pinEnterPos)
						{
							GFX_DrawChar(17 + i * 11, 12, (pinEntered >> (7 - i) & 0x01)?PIN_ENTER_CHAR_ONE:PIN_ENTER_CHAR_ZERO , WHITE, BLACK);
						}
						else
						{
							GFX_DrawChar(17 + i * 11, 12, PIN_ENTER_CHAR_UNKNOWN, WHITE, BLACK);
						}
						if (pinEnterPos == i)
						{
							GFX_SetFontSize(1);
							GFX_DrawChar(19 + i * 11, 28, PIN_ENTER_CHAR_UPARROW, WHITE, BLACK);
						}
					}
					break;

				case DISPLAY_CONTEXT_HLTMSG:

					GFX_SetFontSize(2);
					GFX_DrawString(0,8, lcdMessage, WHITE, BLACK);

					break;

				}

			}

			SSD1306_Display();

		#if  defined(SSD1306_I2C_DMA_ENABLE) || defined(SSD1306_SPI_DMA_ENABLE)
		}
		#endif

	HAL_Delay(50);
    /* USER CODE END WHILE */

  }
}

void SystemClock_Config(void)
{
  RCC_OscInitTypeDef RCC_OscInitStruct = {0};
  RCC_ClkInitTypeDef RCC_ClkInitStruct = {0};

  /** Configure the main internal regulator output voltage
  */
  __HAL_RCC_PWR_CLK_ENABLE();
  __HAL_PWR_VOLTAGESCALING_CONFIG(PWR_REGULATOR_VOLTAGE_SCALE1);

  /** Initializes the RCC Oscillators according to the specified parameters
  * in the RCC_OscInitTypeDef structure.
  */
  RCC_OscInitStruct.OscillatorType = RCC_OSCILLATORTYPE_HSE;
  RCC_OscInitStruct.HSEState = RCC_HSE_ON;
  RCC_OscInitStruct.PLL.PLLState = RCC_PLL_ON;
  RCC_OscInitStruct.PLL.PLLSource = RCC_PLLSOURCE_HSE;
  RCC_OscInitStruct.PLL.PLLM = 25;
  RCC_OscInitStruct.PLL.PLLN = 192;
  RCC_OscInitStruct.PLL.PLLP = RCC_PLLP_DIV2;
  RCC_OscInitStruct.PLL.PLLQ = 4;
  if (HAL_RCC_OscConfig(&RCC_OscInitStruct) != HAL_OK)
  {
    Error_Handler();
  }

  /** Initializes the CPU, AHB and APB buses clocks
  */
  RCC_ClkInitStruct.ClockType = RCC_CLOCKTYPE_HCLK|RCC_CLOCKTYPE_SYSCLK
                              |RCC_CLOCKTYPE_PCLK1|RCC_CLOCKTYPE_PCLK2;
  RCC_ClkInitStruct.SYSCLKSource = RCC_SYSCLKSOURCE_PLLCLK;
  RCC_ClkInitStruct.AHBCLKDivider = RCC_SYSCLK_DIV1;
  RCC_ClkInitStruct.APB1CLKDivider = RCC_HCLK_DIV2;
  RCC_ClkInitStruct.APB2CLKDivider = RCC_HCLK_DIV1;

  if (HAL_RCC_ClockConfig(&RCC_ClkInitStruct, FLASH_LATENCY_3) != HAL_OK)
  {
    Error_Handler();
  }
}

/* USER CODE BEGIN 4 */

// Caps lock internal status procedure used to remember if caps-lock disable code should be issued before typing username/pasword
void setCapslockState(uint8_t state) {
	capslockState = state;
	if (capslockState) {
		HAL_GPIO_WritePin(LED_GPIO, LED_PIN, LED_ON);
	} else {
		HAL_GPIO_WritePin(LED_GPIO, LED_PIN, LED_OFF);
	}
}

void resetCapslockState(void) {
	uint8_t *rep = GetReportByChar(SEQ_CAPSLOCK);
	USBD_CUSTOM_HID_SendReport(&hUsbDeviceFS, rep, sizeof(KbdReport));
}

void HAL_TIM_PeriodElapsedCallback(TIM_HandleTypeDef *htim){
	// Check if IRQ is from timer 10
	if(htim->Instance == TIM10){
		// Check is key is in "pressed" state
		if (keyPressed) {
			keyPressed--;
			if (keyPressed == KEYPRESS_RELEASE_AFTER_CYCLES) {
				uint8_t *rep = GetReportByChar(SEQ_RELEASE); // SEND RELEASE in half of typing cycle
				USBD_CUSTOM_HID_SendReport(&hUsbDeviceFS, rep, sizeof(KbdReport));
			}
		}
		else
		{
			// Username typing sequence
			// First check caps lock state
			if (typeSequence.lUsername > -1) { // Check if there if we should type something
				if (capslockState) {
					resetCapslockState();
					keyPressed = KEYPRESS_EVERY_N_CYCLES;
				}
				else
				{
					// Check if there is no more string to type or we have some error typesequence larger than possible length
					if ((passwordSlots[selectedSlot].username[typeSequence.lUsername] == 0x00) || (typeSequence.lUsername >= sizeof(passwordSlots[selectedSlot].username)))
					{
						// Type TAB code on the end of username sequence
						if (typeSequence.withTerminations) {
							uint8_t *rep = GetReportByChar(SEQ_TAB);
							USBD_CUSTOM_HID_SendReport(&hUsbDeviceFS, rep, sizeof(KbdReport));
							keyPressed = KEYPRESS_EVERY_N_CYCLES;
						}
						typeSequence.lUsername=TYPE_SEQUENCE_OFF;
					}
					else
					{
						// Type next username letter
						uint8_t *rep = GetReportByChar(passwordSlots[selectedSlot].username[typeSequence.lUsername]);
						USBD_CUSTOM_HID_SendReport(&hUsbDeviceFS, rep, sizeof(KbdReport));
						typeSequence.lUsername++;
						keyPressed = KEYPRESS_EVERY_N_CYCLES;
					}
				}
				// Key pressed for N cycles
			}
			// If there is no more username to type, now type password
			else if (typeSequence.lPassword > -1)
			{
				// First check caps lock state
				if (capslockState) {
					resetCapslockState();
					keyPressed = KEYPRESS_EVERY_N_CYCLES;
				}
				else
				{
					// Check if there is no more string to type or we have some error typesequence larger than possible length
					if ((passwordSlots[selectedSlot].password[typeSequence.lPassword] == 0x00) || (typeSequence.lPassword >= sizeof(passwordSlots[selectedSlot].password)))
					{
						if (typeSequence.withTerminations) {
							uint8_t *rep = GetReportByChar(SEQ_ENTER); // Type ENTER to end password sequence
							USBD_CUSTOM_HID_SendReport(&hUsbDeviceFS, rep, sizeof(KbdReport));
							keyPressed = KEYPRESS_EVERY_N_CYCLES;
						}
						typeSequence.lPassword=TYPE_SEQUENCE_OFF;
						//Stop displaying typing message
						displayContext = DISPLAY_CONTEXT_MAIN;
					}
					else
					{
						// Type next password letter
						uint8_t *rep = GetReportByChar(passwordSlots[selectedSlot].password[typeSequence.lPassword]);
						USBD_CUSTOM_HID_SendReport(&hUsbDeviceFS, rep, sizeof(KbdReport));
						typeSequence.lPassword++;
						keyPressed = KEYPRESS_EVERY_N_CYCLES;
					}
				}
			}
			// Let's type previous password if needed
			else if (typeSequence.lPreviousPassword > -1)
				{
					// First check caps lock state
					if (capslockState) {
						resetCapslockState();
						keyPressed = KEYPRESS_EVERY_N_CYCLES;
					}
					else
					{
						// Check if there is no more string to type or we have some error typesequence larger than possible length
						if ((passwordSlots[selectedSlot].previouspassword[typeSequence.lPreviousPassword] == 0x00) || (typeSequence.lPreviousPassword >= sizeof(passwordSlots[selectedSlot].previouspassword)))
						{
							if (typeSequence.withTerminations) {
								uint8_t *rep = GetReportByChar(SEQ_ENTER); // Type ENTER to end password sequence
								USBD_CUSTOM_HID_SendReport(&hUsbDeviceFS, rep, sizeof(KbdReport));
								keyPressed = KEYPRESS_EVERY_N_CYCLES;
							}
							typeSequence.lPreviousPassword=TYPE_SEQUENCE_OFF;
							//Stop displaying typing message
							displayContext = DISPLAY_CONTEXT_MAIN;
						}
						else
						{
							// Type next password letter
							uint8_t *rep = GetReportByChar(passwordSlots[selectedSlot].previouspassword[typeSequence.lPreviousPassword]);
							USBD_CUSTOM_HID_SendReport(&hUsbDeviceFS, rep, sizeof(KbdReport));
							typeSequence.lPreviousPassword++;
							keyPressed = KEYPRESS_EVERY_N_CYCLES;
						}
					}
				}
		}

		for (int i = 0; i < BUTTONS; i++) {
			// Buttons debounce procedures
			if (buttonState[i].stateCounter > 0) {
				if (--buttonState[i].stateCounter == 0)
				{
					if (buttonState[i].isPressed) buttonState[i].awaitingPressAction = true;
					else (buttonState[i].awaitingReleaseAction) = true;
				}
			}
			// Execute button press/release procedures
			// Check if long action should be issued (holdCounter down to zero)
			if ((buttonState[i].isHolded) && (buttonState[i].holdCounter>0))
			{
				if (--buttonState[i].holdCounter == 0) buttonState[i].awaitingLongAction = true;
			}
			// Check if there is awaiting press action (button is holded short)
			if (buttonState[i].awaitingPressAction)
			{
				buttonState[i].awaitingPressAction = false;
				buttonState[i].isHolded = true;
				buttonState[i].awaitingLongAction = false;
				buttonState[i].holdCounter = BUTTON_HOLD_COUNTER;
			}
			// Check if there is awaiting release action to execute after short or long press
			if ((buttonState[i].awaitingReleaseAction) || (buttonState[i].awaitingLongAction))
			{
				if (buttonState[i].awaitingLongAction) {
					longPress(i);
				}
				else
				{
					shortPress(i);
				}
				buttonState[i].awaitingReleaseAction = false;
				buttonState[i].isHolded = false;
				buttonState[i].awaitingLongAction = false;
			}
		}

		if (delayedLogin > 0) {
			if (--delayedLogin == 0) {
				pinEnterPos = 0x00;
				pinEntered = 0x00;
				loadEncryptedDatabase();
			}
		}

		if (messageDisplayCounter > 0)
		{
			if ((saveDatabasePending == true) && (messageDisplayCounter == SAVE_ALL_SLOTS_ON_CYCLE)) {
				saveDatabasePending = false;
				bool saveret = saveAllSlots();
				if (saveret) {
					strcpy(lcdMessage, lcdMessageSaveOK);
				} else {
					strcpy(lcdMessage, lcdMessageSaveError);
				}
				displayContext = DISPLAY_CONTEXT_MESSAGE;
				messageDisplayCounter = MSG_DISPLAY_CYCLES;
				loadAndDisplaySlots();
			}
			if (--messageDisplayCounter == 0) displayContext = DISPLAY_CONTEXT_MAIN;
		}

		uint32_t lastTick = HAL_GetTick();
		randomSeed[currentSeedPart] ^= (uint8_t)(lastTick & 0xFF);
		if (++currentSeedPart>=(MAX_LINE_OF_TEXT_CHARS * 4)) currentSeedPart=0;

		if (lcdDimCounter > 0) {
			if ((--lcdDimCounter == 0) && !(lcdBrightnessStatus & LCD_BRIGHTNESS_IS_DIM)) lcdBrightnessStatus |= LCD_BRIGHTNESS_GO_DIM;
		}

		if (displayEnabledCounter > 0) displayEnabledCounter--;
	}
}

// BUTTONs EXIT IRQ Callback procedure

void HAL_GPIO_EXTI_Callback(uint16_t GPIO_Pin)
{
	//HAL_NVIC_DisableIRQ(EXTI1_IRQn);
	if (++currentSeedPart>=(MAX_LINE_OF_TEXT_CHARS * 4)) currentSeedPart=0;

	lcdDimCounter = LCD_DIM_COUNTER_START;

	if (lcdBrightnessStatus & LCD_BRIGHTNESS_IS_DIM) {
		lcdBrightnessStatus |= LCD_BRIGHTNESS_GO_BRIGHT;
	}

	lcdBrightnessStatus &= ~LCD_BRIGHTNESS_GO_DIM;

	if (displayEnabledCounter == 0) btnCancelNextAction = true;

	displayEnabledCounter = DISPLAY_ENABLED_COUNTER_START;

	// New button debouce procedures
	// Iterate throughout buttons
	for (int i = 0; i < BUTTONS; i++)
	{
		// Check which button is changed
		if (GPIO_Pin & buttonState[i].PIN)
		{
			// Check current button state
			GPIO_PinState state = HAL_GPIO_ReadPin(buttonState[i].GPIO, buttonState[i].PIN);
			if (state == BTN_PRESSED) {
				// If pressed
				buttonState[i].isPressed = true;
				buttonState[i].stateCounter = BUTTON_DEBOUNCE_COUNTER;
				buttonState[i].awaitingPressAction = false;
			} else {
				if (buttonState[i].isHolded)
				{
					// If released while holded
					buttonState[i].isPressed = false;
					buttonState[i].stateCounter = BUTTON_DEBOUNCE_COUNTER;
					buttonState[i].awaitingReleaseAction = false;
				}
				else
				{
					// If released while short press
					buttonState[i].isPressed = false;
					buttonState[i].stateCounter = 0;
					buttonState[i].awaitingPressAction = false;
					buttonState[i].awaitingReleaseAction = false;
				}
			}
		}
	}

	//HAL_NVIC_EnableIRQ(EXTI1_IRQn);
}

/* USER CODE END 4 */

void Error_Handler(void)
{
  __disable_irq();
  while (1)
  {
  }
}
